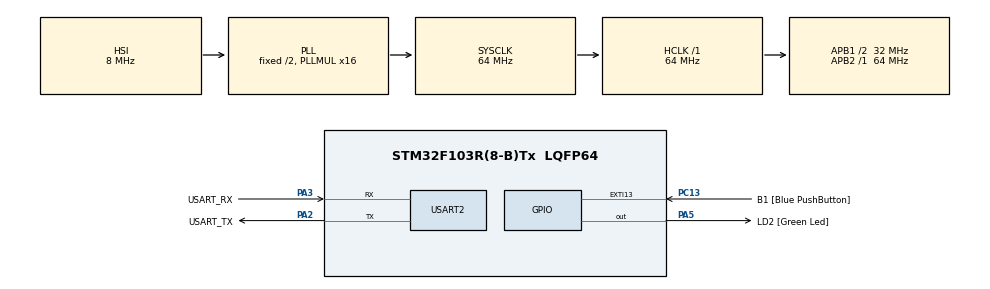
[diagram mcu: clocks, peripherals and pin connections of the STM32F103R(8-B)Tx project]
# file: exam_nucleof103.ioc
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Mcu.Family=STM32F1
Mcu.Name=STM32F103R(8-B)Tx
Mcu.Package=LQFP64
NVIC.EXTI15_10_IRQn=true\:0\:0\:false\:false\:true\:true\:true\:true
NVIC.PriorityGroup=NVIC_PRIORITYGROUP_4
NVIC.USART2_IRQn=true\:0\:0\:false\:false\:true\:true\:true\:true
PA13.GPIO_Label=TMS
PA13.Mode=Serial_Wire
PA13.Signal=SYS_JTMS-SWDIO
PA14.GPIO_Label=TCK
PA14.Mode=Serial_Wire
PA14.Signal=SYS_JTCK-SWCLK
PA2.GPIO_Label=USART_TX
PA2.GPIO_Mode=GPIO_MODE_AF_PP
PA2.GPIO_PuPd=GPIO_NOPULL
PA2.GPIO_Speed=GPIO_SPEED_FREQ_LOW
PA2.Mode=Asynchronous
PA2.Signal=USART2_TX
PA3.GPIO_Label=USART_RX
PA3.GPIO_Mode=GPIO_MODE_AF_PP
PA3.GPIO_PuPd=GPIO_NOPULL
PA3.GPIO_Speed=GPIO_SPEED_FREQ_LOW
PA3.Mode=Asynchronous
PA3.Signal=USART2_RX
PA5.GPIO_Label=LD2 [Green Led]
PA5.GPIO_ModeDefaultOutputPP=GPIO_MODE_OUTPUT_PP
PA5.GPIO_PuPd=GPIO_NOPULL
PA5.GPIO_Speed=GPIO_SPEED_FREQ_LOW
PA5.Signal=GPIO_Output
PB3.GPIO_Label=SWO
PB3.Signal=SYS_JTDO-TRACESWO
PC13-TAMPER-RTC.GPIO_Label=B1 [Blue PushButton]
PC13-TAMPER-RTC.GPIO_PuPd=GPIO_NOPULL
PC13-TAMPER-RTC.Signal=GPXTI13
PC14-OSC32_IN.Mode=LSE-External-Oscillator
PC14-OSC32_IN.Signal=RCC_OSC32_IN
PC15-OSC32_OUT.Mode=LSE-External-Oscillator
PC15-OSC32_OUT.Signal=RCC_OSC32_OUT
PD0-OSC_IN.Mode=HSE-External-Clock-Source
PD0-OSC_IN.Signal=RCC_OSC_IN
PD1-OSC_OUT.Mode=HSE-External-Clock-Source
PD1-OSC_OUT.Signal=RCC_OSC_OUT
ProjectManager.HeapSize=0x200
ProjectManager.StackSize=0x400
ProjectManager.TargetToolchain=STM32CubeIDE
RCC.AHBFreq_Value=64000000
RCC.APB1CLKDivider=RCC_HCLK_DIV2
RCC.APB1Freq_Value=32000000
RCC.APB1TimFreq_Value=64000000
RCC.APB2Freq_Value=64000000
RCC.APB2TimFreq_Value=64000000
RCC.HCLKFreq_Value=64000000
RCC.PLLMUL=RCC_PLL_MUL16
RCC.RTCClockSelection=RCC_RTCCLKSOURCE_LSE
RCC.SYSCLKFreq_VALUE=64000000
RCC.SYSCLKSource=RCC_SYSCLKSOURCE_PLLCLK
RCC.USBFreq_Value=64000000
USART2.VirtualMode=VM_ASYNC
board=NUCLEO-F103RB

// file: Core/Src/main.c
/* USER CODE BEGIN Header */
/**
  ******************************************************************************
  * @file           : main.c
  * @brief          : Main program body
  ******************************************************************************
  * @attention
  *
  * Copyright (c) 2023 STMicroelectronics.
  * All rights reserved.
  *
  * This software is licensed under terms that can be found in the LICENSE file
  * in the root directory of this software component.
  * If no LICENSE file comes with this software, it is provided AS-IS.
  *
  ******************************************************************************
  */
/* USER CODE END Header */
#include "main.h"
#include "usart.h"
#include "gpio.h"

/* USER CODE BEGIN Includes */
#include <stdio.h>
/* USER CODE END Includes */

/* USER CODE BEGIN PTD */
int _write(int file, char* p, int len){
	HAL_UART_Transmit(&huart2, p, len, 10);
	return len;
}
/* USER CODE END PTD */

/* USER CODE BEGIN PD */
uint8_t rx_data;
/* USER CODE END PD */

void SystemClock_Config(void);
/* USER CODE BEGIN PFP */
void HAL_UART_RxCpltCallback(UART_HandleTypeDef *huart)
{
  /* Prevent unused argument(s) compilation warning */
	if(huart->Instance == USART2){
	printf("command:%c\n\r",rx_data);
	if(rx_data == '1'){
		printf(">>LED ON<<\n\r");
		HAL_GPIO_WritePin(GPIOA, LD2_Pin, 1);
	}
	else if(rx_data =='2'){

		printf(">>LED OFF<<\n\r");
		HAL_GPIO_WritePin(GPIOA, LD2_Pin, 0);
	}
	HAL_UART_Receive_IT(&huart2, &rx_data, 1);
	printf_cmd();
	printf_status();

	}/* NOTE: This function should not be modified, when the callback is needed,
           the HAL_UART_RxCpltCallback could be implemented in the user file
   */
}

/* USER CODE END PFP */

/* USER CODE BEGIN 0 */
void printf_cmd(){
	printf("\r\n----------\r\n%s\r\n%s\r\n --------\n\r",
			"1:LED ON",
			"2:LED OFF");
}
void printf_status(){
	printf("\r\n---STATUS---\r\n%s\r\n%s\r\n",
		"reg a:",
		"reg b:"
	);
}
/* USER CODE END 0 */

int main(void)
{

  /* MCU Configuration--------------------------------------------------------*/

  /* Reset of all peripherals, Initializes the Flash interface and the Systick. */
  HAL_Init();

  /* Configure the system clock */
  SystemClock_Config();

  /* Initialize all configured peripherals */
  MX_GPIO_Init();
  MX_USART2_UART_Init();
  /* USER CODE BEGIN 2 */
  HAL_UART_Receive_IT(&huart2, &rx_data, 1);
  printf_cmd();
  printf_status();

  /* USER CODE END 2 */

  /* Infinite loop */
  while (1)
  {

  }
}

void SystemClock_Config(void)
{
  RCC_OscInitTypeDef RCC_OscInitStruct = {0};
  RCC_ClkInitTypeDef RCC_ClkInitStruct = {0};

  /** Initializes the RCC Oscillators according to the specified parameters
  * in the RCC_OscInitTypeDef structure.
  */
  RCC_OscInitStruct.OscillatorType = RCC_OSCILLATORTYPE_HSI;
  RCC_OscInitStruct.HSIState = RCC_HSI_ON;
  RCC_OscInitStruct.HSICalibrationValue = RCC_HSICALIBRATION_DEFAULT;
  RCC_OscInitStruct.PLL.PLLState = RCC_PLL_ON;
  RCC_OscInitStruct.PLL.PLLSource = RCC_PLLSOURCE_HSI_DIV2;
  RCC_OscInitStruct.PLL.PLLMUL = RCC_PLL_MUL16;
  if (HAL_RCC_OscConfig(&RCC_OscInitStruct) != HAL_OK)
  {
    Error_Handler();
  }

  /** Initializes the CPU, AHB and APB buses clocks
  */
  RCC_ClkInitStruct.ClockType = RCC_CLOCKTYPE_HCLK|RCC_CLOCKTYPE_SYSCLK
                              |RCC_CLOCKTYPE_PCLK1|RCC_CLOCKTYPE_PCLK2;
  RCC_ClkInitStruct.SYSCLKSource = RCC_SYSCLKSOURCE_PLLCLK;
  RCC_ClkInitStruct.AHBCLKDivider = RCC_SYSCLK_DIV1;
  RCC_ClkInitStruct.APB1CLKDivider = RCC_HCLK_DIV2;
  RCC_ClkInitStruct.APB2CLKDivider = RCC_HCLK_DIV1;

  if (HAL_RCC_ClockConfig(&RCC_ClkInitStruct, FLASH_LATENCY_2) != HAL_OK)
  {
    Error_Handler();
  }
}

void Error_Handler(void)
{
  __disable_irq();
  while (1)
  {
  }
}
